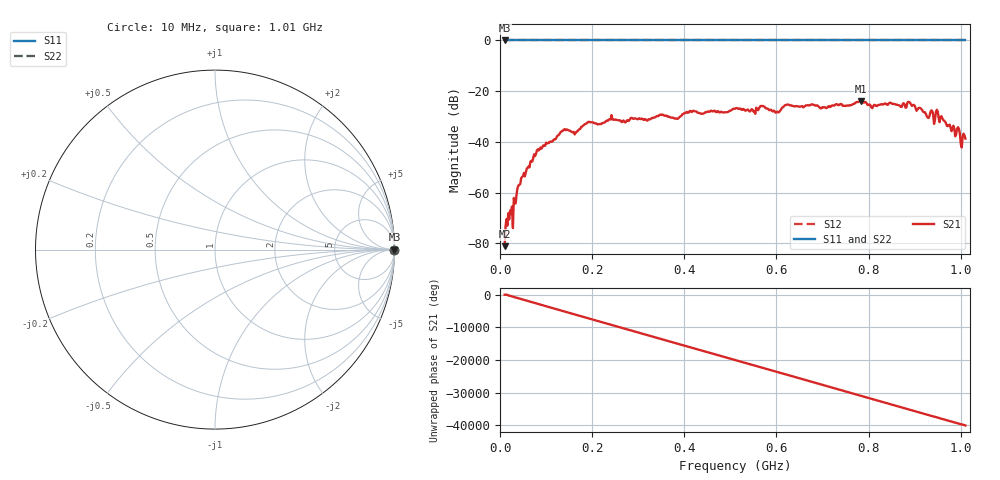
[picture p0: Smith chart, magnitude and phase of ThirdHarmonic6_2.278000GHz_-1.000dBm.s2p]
! 8/17/2025 2:56:07 AM
! C:\ANRITSUVNA\TEMP\TEMP.S2P
! CHANNEL.1
! TR.MEASUREMENT
! RAW.DATA
! RF.CORRECTION.OFF
! AVERAGING.OFF
! IF.BANDWIDTH: 5KHZ
! SWEEPTYPE:  FREQ.SWEEP(Linear)
! Reference Plane Port Info
! PORT:  PORT1  PORT2
! DISTANCE:  0  m  0  m
! TIME:  0  s  0  s
! PHASE.OFFSET:  0  deg.  0  deg.
! LOSS:  0  dB  0  dB
! REF.LOSS:  0  dB  0  dB
! REF.FREQ:  0  Hz  0  Hz
! Power Info
! POWER:  -20  dBm  -20  dBm
! EFF.POWER:  -20  dBm  -20  dBm
! SOURCE.ATTEN:  0  dB  0  dB
! TEST.ATTEN:  0  dB  0  dB
# GHZ S RI R 50.0
! FREQ.GHZ  S11RE  S11IM  S21RE  S21IM  S12RE  S12IM  S22RE  S22IM
!; PortSelection: Port_12
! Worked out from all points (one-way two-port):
!   501 points, 10 MHz to 1.01 GHz, reference 50 ohm
!   highest |S21| = -23.99 dB at 784 MHz (marker M1); lowest = -81.2 dB at 10 MHz (marker M2)
!   lowest |S11| = 0.0 dB at 10 MHz (marker M3)
!   |S11| at or under -10 dB: nowhere
!   |S22| runs from 0.0 to 0.0 dB; largest |S21 - S12| = 1.1
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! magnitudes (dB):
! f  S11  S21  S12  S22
! 10 MHz  0.0  -81.2  0.0  0.0
! 18 MHz  0.0  -68.1  0.0  0.0
! 32 MHz  0.0  -64.2  0.0  0.0
! 42 MHz  0.0  -57.0  0.0  0.0
! 78 MHz  0.0  -44.8  0.0  0.0
! 136 MHz  0.0  -35.7  0.0  0.0
! 178 MHz  0.0  -34.0  0.0  0.0
! 344 MHz  0.0  -29.8  0.0  0.0
! 382 MHz  0.0  -30.8  0.0  0.0
! 510 MHz  0.0  -26.9  0.0  0.0
! 570 MHz  0.0  -25.8  0.0  0.0
! 602 MHz  0.0  -28.1  0.0  0.0
! 622 MHz  0.0  -25.4  0.0  0.0
! 678 MHz  0.0  -25.2  0.0  0.0
! 784 MHz  0.0  -24.0  0.0  0.0
! 844 MHz  0.0  -24.8  0.0  0.0
! 888 MHz  0.0  -24.3  0.0  0.0
! 928 MHz  0.0  -30.4  0.0  0.0
! 948 MHz  0.0  -27.4  0.0  0.0
! 994 MHz  0.0  -34.2  0.0  0.0
! 1.002 GHz  0.0  -42.2  0.0  0.0
! 1.01 GHz  0.0  -38.7  0.0  0.0
